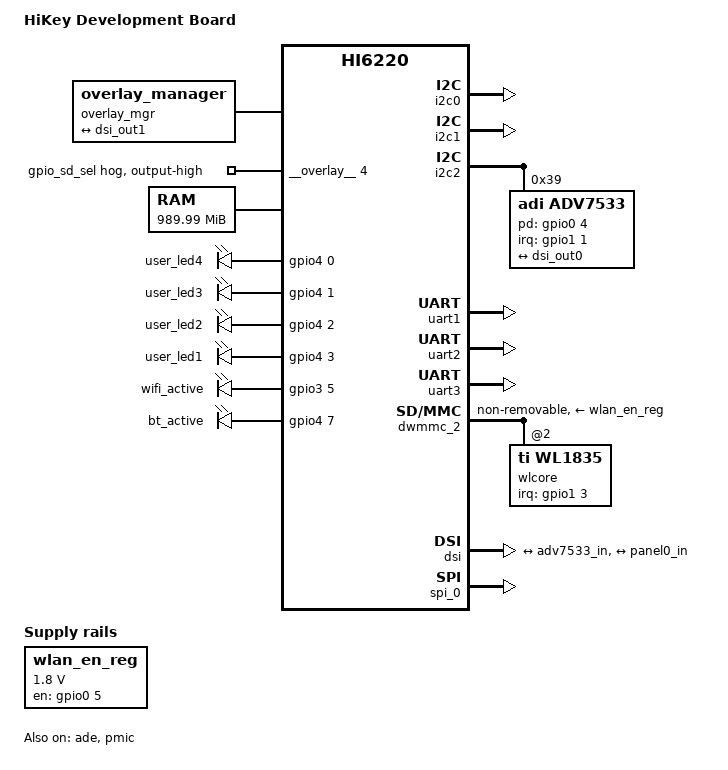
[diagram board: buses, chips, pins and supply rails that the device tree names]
/*
 * dts file for Hisilicon HiKey Development Board
 *
 * Copyright (C) 2015, Hisilicon Ltd.
 *
 */

/dts-v1/;
#include <dt-bindings/gpio/gpio.h>

#include "hi6220.dtsi"
#include "hikey-gpio.dtsi"
#include "hikey-pinctrl.dtsi"

/ {
	model = "HiKey Development Board";
	compatible = "hisilicon,hi6220-hikey", "hisilicon,hi6220";

	aliases {
		serial0 = &uart0; /* On board UART0 */
		serial1 = &uart1; /* BT UART */
		serial2 = &uart2; /* LS Expansion UART0 */
		serial3 = &uart3; /* LS Expansion UART1 */
		spi0 = &spi_0;
	};

	chosen {
		stdout-path = "serial3:115200n8";
	};

	overlay_mgr {
		compatible = "linux,overlay_manager";
		hardware_cfg_innolux_panel {
			overlay_0 {
				fragment@0 {
					target-path="/soc/dsi@f4107800";
					__overlay__ { /* For panel reg's value should >= 1 */
						#address-cells = <1>;
						#size-cells = <0>;
						panel@1 {
							compatible = "innolux,n070icn-pb1";
							reg = <1>;
							power-on-delay= <50>;
							reset-delay = <100>;
							init-delay = <100>;
							panel-width-mm = <58>;
							panel-height-mm = <103>;
							pwr-en-gpio = <&gpio2 1 0>;
							bl-en-gpio = <&gpio2 3 0>;
							pwm-gpio = <&gpio12 7 0>;

							port {
								panel0_in: endpoint {
									remote-endpoint = <&dsi_out1>;
								};
							};
						};
					};
				};
			};
		};
		hardware_cfg_spidev0 {
			overlay_0 {
				fragment@0 {
					target-path="/soc/spi@f7106000/spidev@0";
					__overlay__ {
						status = "ok";
					};
				};
			};
		};
		hardware_cfg_spidev_dma0 {
			overlay_0 {
				fragment@0 {
					target-path="/soc/spi@f7106000/spidev_dma@0";
					__overlay__ {
						status = "ok";
					};
				};
			};
		};
		hardware_cfg_neonkey {
			overlay_0 {
				fragment@0 {
					target-path="/soc/spi@f7106000/sensorhub@0";
					__overlay__ {
						status = "ok";
					};
				};
			};
		};
		hardware_cfg_argonkey {
			overlay_0 {
				fragment@0 {
					target-path="/soc/spi@f7106000/argonkey@0";
					__overlay__ {
						status = "ok";
					};
				};
			};
		};
		hardware_cfg_cs_sd_qb {
			overlay_0 {
				fragment@0 { /* Select SD from Quick Bus */
					target-path="/soc/gpio@f7020000";
					__overlay__ {
						sd_sel {
							gpio-hog;
							gpios = <4 0>;
							output-high;
							line-name = "gpio_sd_sel";
						};
					};
				};
			};
		};
		hardware_cfg_enable_android_fstab {
			overlay_0 {
				fragment@0 {
					target-path="/firmware/android/fstab/system";
					__overlay__ {
						status = "ok";
					};
				};
				fragment@1 {
					target-path="/firmware/android/fstab/vendor";
					__overlay__ {
						fsmgr_flags = "wait";
						status = "ok";
					};
				};
			};
		};
		hardware_cfg_enable_android_fstab_v2 {
			overlay_0 {
				fragment@0 {
					target-path="/firmware/android/fstab/vendor";
					__overlay__ {
						status = "ok";
					};
				};
			};
		};
	};

	/*
	 * Reserve below regions from memory node:
	 *
	 *  0x05e0,0000 - 0x05ef,ffff: MCU firmware runtime using
	 *  0x05f0,1000 - 0x05f0,1fff: Reboot reason
	 *  0x06df,f000 - 0x06df,ffff: Mailbox message data
	 *  0x0740,f000 - 0x0740,ffff: MCU firmware section
	 *  0x21f0,0000 - 0x21ff,ffff: pstore/ramoops buffer
	 *  0x3e00,0000 - 0x3fff,ffff: OP-TEE
	 */
	memory@0 {
		device_type = "memory";
		reg = <0x00000000 0x00000000 0x00000000 0x05e00000>,
		      <0x00000000 0x05f00000 0x00000000 0x00001000>,
		      <0x00000000 0x05f02000 0x00000000 0x00efd000>,
		      <0x00000000 0x06e00000 0x00000000 0x0060f000>,
		      <0x00000000 0x07410000 0x00000000 0x1aaf0000>,
		      <0x00000000 0x22000000 0x00000000 0x1c000000>;
	};

	pstore: pstore@0x21f00000 {
		no-map;
		reg = <0x0 0x21f00000 0x0 0x00100000>;  /* pstore/ramoops buffer */
	};

	ramoops {
		compatible = "ramoops";
		memory-region = <&pstore>;
		record-size	= <0x0 0x00020000>;
		console-size	= <0x0 0x00020000>;
		ftrace-size	= <0x0 0x00020000>;
	};

	reboot_reason: reboot-reason@05f01000 {
		compatible		= "linux,reboot-reason-sram";
		reg			= <0x0 0x05F01000 0x0 0x4>;
		reason,none		= <0x77665501>;
		reason,bootloader	= <0x77665500>;
		reason,recovery		= <0x77665502>;
		reason,oem		= <0x6f656d00>;
	};

	soc {
		i2c0: i2c@f7100000 {
			status = "ok";
		};

		i2c1: i2c@f7101000 {
			status = "ok";
		};

		i2c2: i2c@f7102000 {
			status = "ok";

			#address-cells = <0x1>;
			#size-cells = <0x0>;
			adv7533: adv7533@39 {
				compatible = "adi,adv7533";
				reg = <0x39>;
				interrupt-parent = <&gpio1>;
				interrupts = <1 2>;
				pd-gpio = <&gpio0 4 0>;
				adi,dsi-lanes = <4>;
				adi,disable-timing-generator;

				port {
					adv7533_in: endpoint {
						remote-endpoint = <&dsi_out0>;
					};
				};
			};
		};
		uart1: uart@f7111000 {
			status = "ok";
		};

		uart2: uart@f7112000 {
			status = "ok";
		};

		uart3: uart@f7113000 {
			status = "ok";
		};

		dwmmc_2: dwmmc2@f723f000 {
			ti,non-removable;
			non-removable;
			/* WL_EN */
			vmmc-supply = <&wlan_en_reg>;

			#address-cells = <0x1>;
			#size-cells = <0x0>;
			wlcore: wlcore@2 {
				compatible = "ti,wl1835";
				reg = <2>;	/* sdio func num */
				/* WL_IRQ, WL_HOST_WAKE_GPIO1_3 */
				interrupt-parent = <&gpio1>;
				interrupts = <3 IRQ_TYPE_EDGE_RISING>;
			};
		};

		wlan_en_reg: fixedregulator@1 {
			compatible = "regulator-fixed";
			regulator-name = "wlan-en-regulator";
			regulator-min-microvolt = <1800000>;
			regulator-max-microvolt = <1800000>;
			/* WLAN_EN GPIO */
			gpio = <&gpio0 5 0>;
			/* WLAN card specific delay */
			startup-delay-us = <70000>;
			enable-active-high;
		};

	};

	leds {
		compatible = "gpio-leds";
		user_led1 {
			label = "user_led4";
			gpios = <&gpio4 0 0>; /* <&gpio_user_led_1>; */
			linux,default-trigger = "heartbeat";
		};

		user_led2 {
			label = "user_led3";
			gpios = <&gpio4 1 0>; /* <&gpio_user_led_2>; */
			linux,default-trigger = "mmc0";
		};

		user_led3 {
			label = "user_led2";
			gpios = <&gpio4 2 0>; /* <&gpio_user_led_3>; */
			linux,default-trigger = "mmc1";
		};

		user_led4 {
			label = "user_led1";
			gpios = <&gpio4 3 0>; /* <&gpio_user_led_4>; */
			linux,default-trigger = "cpu0";
		};

		wlan_active_led {
			label = "wifi_active";
			gpios = <&gpio3 5 0>; /* <&gpio_wlan_active_led>; */
			linux,default-trigger = "phy0tx";
			default-state = "off";
		};

		bt_active_led {
			label = "bt_active";
			gpios = <&gpio4 7 0>; /* <&gpio_bt_active_led>; */
			linux,default-trigger = "hci0rx";
			default-state = "off";
		};
	};

	kim {
		compatible = "kim";
		pinctrl-names = "default";
		pinctrl-0 = <>; /* FIXME: add BT PCM pinctrl here */
		/*
		 * FIXME: The following is complete CRAP since
		 * the vendor driver doesn't follow the gpio
		 * binding. Passing in a magic Linux gpio number
		 * here until we fix the vendor driver.
		 */
		/* BT_EN: BT_REG_ON_GPIO1_7 */
		nshutdown_gpio = <503>;
		dev_name = "/dev/ttyAMA1";
		flow_cntrl = <1>;
		baud_rate = <3000000>;
	};

	btwilink {
		compatible = "btwilink";
	};

	pmic: pmic@f8000000 {
		compatible = "hisilicon,hi655x-pmic";
		reg = <0x0 0xf8000000 0x0 0x1000>;
		interrupt-controller;
		#interrupt-cells = <2>;
		pmic-gpios = <&gpio1 2 GPIO_ACTIVE_HIGH>;
		status = "okay";

		ponkey:ponkey@b1{
			compatible = "hisilicon,hi6552-powerkey";
			interrupt-parent = <&pmic>;
			interrupts = <6 0>, <5 0>, <4 0>;
			interrupt-names = "down", "up", "hold 4s";
		};

		regulators {
			ldo2: LDO2@a21 {

				regulator-name = "LDO2_2V8";
				regulator-min-microvolt = <2500000>;
				regulator-max-microvolt = <3200000>;
				regulator-enable-ramp-delay = <120>;
			};

			ldo7: LDO7@a26 {
				regulator-name = "LDO7_SDIO";
				regulator-min-microvolt = <1800000>;
				regulator-max-microvolt = <3300000>;
				regulator-enable-ramp-delay = <120>;
			};

			ldo10: LDO10@a29 {
				regulator-name = "LDO10_2V85";
				regulator-min-microvolt = <1800000>;
				regulator-max-microvolt = <3000000>;
				regulator-enable-ramp-delay = <360>;
			};

			ldo13: LDO13@a32 {
				regulator-name = "LDO13_1V8";
				regulator-min-microvolt = <1600000>;
				regulator-max-microvolt = <1950000>;
				regulator-enable-ramp-delay = <120>;
			};

			ldo14: LDO14@a33 {
				regulator-name = "LDO14_2V8";
				regulator-min-microvolt = <2500000>;
				regulator-max-microvolt = <3200000>;
				regulator-enable-ramp-delay = <120>;
			};

			ldo15: LDO15@a34 {
				regulator-name = "LDO15_1V8";
				regulator-min-microvolt = <1600000>;
				regulator-max-microvolt = <1950000>;
				regulator-boot-on;
				regulator-always-on;
				regulator-enable-ramp-delay = <120>;
			};

			ldo17: LDO17@a36 {
				regulator-name = "LDO17_2V5";
				regulator-min-microvolt = <2500000>;
				regulator-max-microvolt = <3200000>;
				regulator-enable-ramp-delay = <120>;
			};

			ldo19: LDO19@a38 {
				regulator-name = "LDO19_3V0";
				regulator-min-microvolt = <1800000>;
				regulator-max-microvolt = <3000000>;
				regulator-enable-ramp-delay = <360>;
			};

			ldo21: LDO21@a40 {
				regulator-name = "LDO21_1V8";
				regulator-min-microvolt = <1650000>;
				regulator-max-microvolt = <2000000>;
				regulator-always-on;
				regulator-enable-ramp-delay = <120>;
			};

			ldo22: LDO22@a41 {
				regulator-name = "LDO22_1V2";
				regulator-min-microvolt = <900000>;
				regulator-max-microvolt = <1200000>;
				regulator-boot-on;
				regulator-always-on;
				regulator-enable-ramp-delay = <120>;
			};
		};
	};

	firmware {
		optee {
			compatible = "linaro,optee-tz";
			method = "smc";
		};
		android {
			compatible = "android,firmware";
			fstab {
				compatible = "android,fstab";
				system {
					compatible = "android,system";
					dev = "/dev/block/platform/soc/f723d000.dwmmc0/by-name/system";
					type = "ext4";
					mnt_flags = "ro" ;
					fsmgr_flags = "wait";
					status = "disabled";
				};
				vendor {
					compatible = "android,vendor";
					dev = "/dev/block/platform/soc/f723d000.dwmmc0/by-name/vendor";
					type = "ext4";
					mnt_flags = "ro" ;
					fsmgr_flags = "wait,verify";
					status = "disabled";
				};
			};
		};
	};
};

&ade {
	status = "ok";
};

&dsi {
	#address-cells = <1>;
	#size-cells = <0>;
	mux-gpio = <&gpio0 1 0>;
	status = "ok";

	ports {
		/* 1 for output port */
		port@1 {
			#address-cells = <1>;
			#size-cells = <0>;
			reg = <1>;

			dsi_out0: endpoint@0 {
				reg = <0>;
				remote-endpoint = <&adv7533_in>;
			};

			dsi_out1: endpoint@1 {
				reg = <1>;
				remote-endpoint = <&panel0_in>;
			};
		};
	};
};

&spi_0 {
	#address-cells = <1>;
	#size-cells = <0>;
	status = "ok";

	/* the two spidev below cannot be both enabled at the same time */
	spidev@0 {
		compatible = "rohm,dh2228fv";
		spi-max-frequency = <500000>;
		reg = <0>;
		status = "disabled";
	};

	/*
	 * To enable the DMA on a slave of spi0, add the lines
         * pl022,com-mode = <2>;
         * pl022,rx-level-trig = <1>;
	 * in the DT node of the slave,
         */
	spidev_dma@0 {
		compatible = "rohm,dh2228fv";
		spi-max-frequency = <500000>;
		reg = <0>;
		pl022,com-mode = <2>;
		pl022,rx-level-trig = <1>;
		status = "disabled";
	};

	sensorhub@0 {
		compatible = "nanohub";
		reg = <0>;
		spi-max-frequency = <500000>;
		spi-cpol;
		spi-cpha;

		sensorhub,nreset-gpio = <&gpio0 6 0>;
		sensorhub,boot0-gpio = <&gpio2 2 0>; /* Fake */
		sensorhub,wakeup-gpio = <&gpio2 0 0>; /* Gpio2_0 -> PB9 */
		sensorhub,irq1-gpio = <&gpio2 1 0>;   /* Gpio2_1 -> PB5 */
		sensorhub,spi-cs-gpio = <&gpio6 2 0>;
		sensorhub,bl-addr = <0x08000000>;
		sensorhub,kernel-addr = <0x0800C000>;
		sensorhub,num-flash-banks = <4>;
		sensorhub,flash-banks =		<0 0x08000000 0x04000>,
						<3 0x0800C000 0x04000>,
						<4 0x08010000 0x10000>,
						<5 0x08020000 0x20000>;
		sensorhub,shared-addr = <0x08040000>;
		sensorhub,num-shared-flash-banks = <2>;
		sensorhub,shared-flash-banks =	<6 0x08040000 0x20000>,
						<7 0x08060000 0x20000>;
		status = "disabled";
	};

	argonkey@0 {
		compatible = "nanohub";
		reg = <0>;
		pl022,com-mode = <2>;
		pl022,rx-level-trig = <1>;
		spi-max-frequency = <7500000>;

		interrupt-parent = <&gpio2>;
		interrupts = <0 0x2>;
		sensorhub,irq1-gpio = <&gpio2 0 0>;
		sensorhub,irq2-gpio = <&gpio10 2 0>;
		sensorhub,wakeup-gpio = <&gpio9 1 0>;
		sensorhub,spi-cs-gpio = <&gpio6 7 0>;
		sensorhub,nreset-gpio = <&gpio2 3 0>;
		sensorhub,boot0-gpio = <&gpio2 7 0>;
		sensorhub,bl-addr = <0x08000000>;
		sensorhub,kernel-addr = <0x0800C000>;
		sensorhub,num-flash-banks = <4>;
		sensorhub,flash-banks =
			<0 0x08000000 0x04000>,
			<3 0x0800C000 0x04000>,
			<4 0x08010000 0x10000>,
			<5 0x08020000 0x20000>;
		sensorhub,shared-addr = <0x08040000>;
		sensorhub,num-shared-flash-banks = <6>;
		sensorhub,shared-flash-banks =
			<6 0x08040000 0x20000>,
			<7 0x08060000 0x20000>,
			<8 0x08080000 0x20000>,
			<9 0x080A0000 0x20000>,
			<10 0x080C0000 0x20000>,
			<11 0x080E0000 0x20000>;

		status = "disabled";
	};
};
